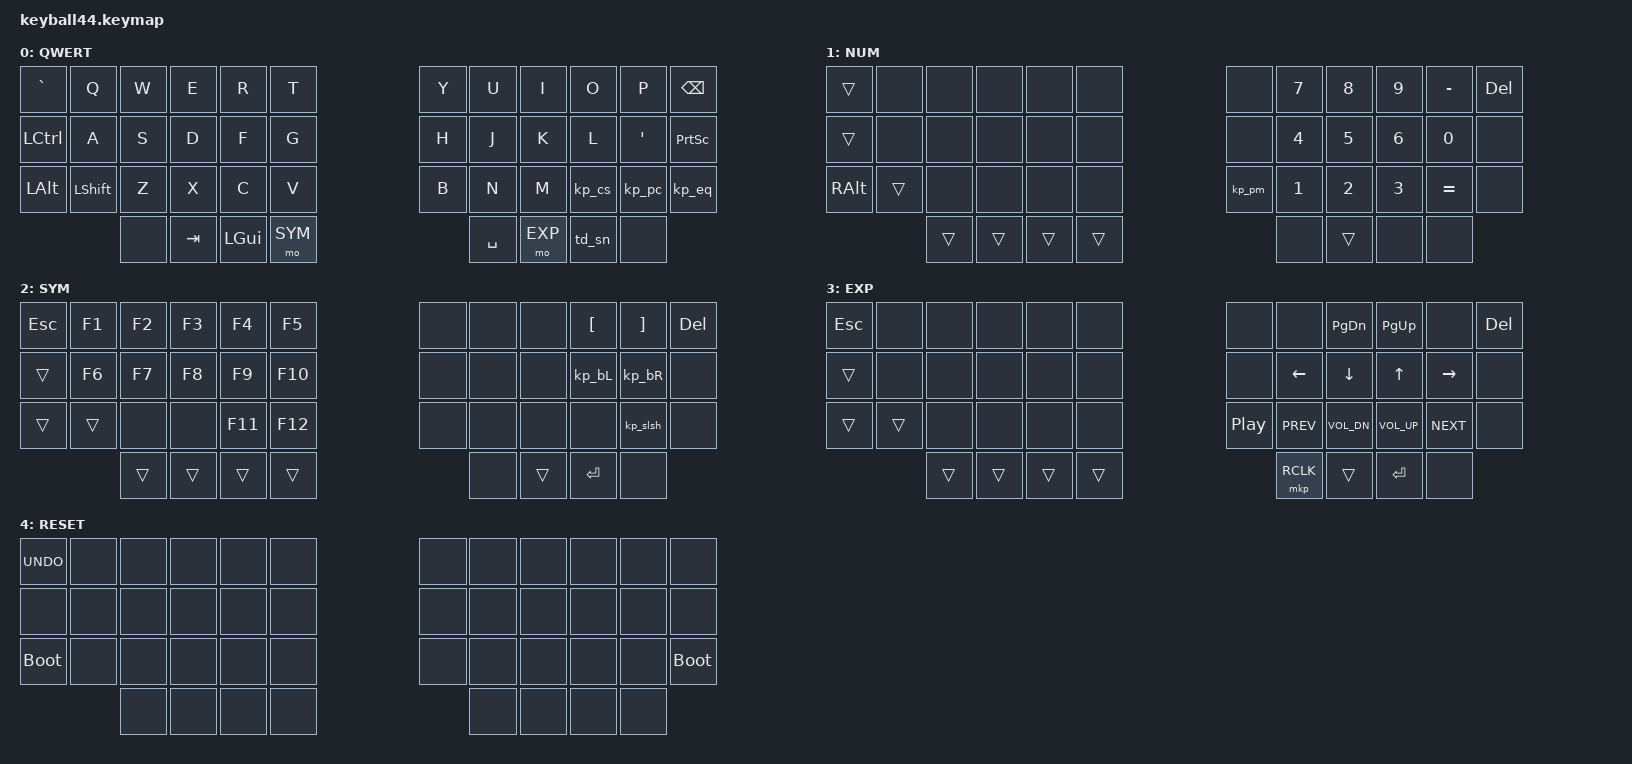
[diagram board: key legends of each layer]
#define QWERT  0
#define NUM    1
#define SYM    2
#define EXP    3
#define RESET  4

#include <behaviors/mouse_keys.dtsi>
#include <dt-bindings/zmk/mouse.h>
#include <behaviors.dtsi>
#include <dt-bindings/zmk/keys.h>
#include <dt-bindings/zmk/pointing.h>

&lt {
    tapping-term-ms = <240>;
    flavor = "balanced";
    quick-tap-ms = <100>;
};

&mt {
    tapping-term-ms = <200>;
    flavor = "tap-preferred";
    quick-tap-ms = <150>;
};

/ {
    conditional_layers {
        compatible = "zmk,conditional-layers";

        reset_layer {
            if-layers = <NUM EXP>;
            then-layer = <RESET>;
        };
    };

    behaviors {
        td_sn: TD_space_num {
            compatible = "zmk,behavior-tap-dance";
            label = "NUM_SPACE";
            #binding-cells = <0>;
            tapping-term-ms = <100>;
            bindings = <&lt NUM SPACE>;
        };

        kp_cs: SYM_comma_semi {
            compatible = "zmk,behavior-mod-morph";
            label = "COMMA_SEMI";
            #binding-cells = <0>;
            bindings = <&kp COMMA>, <&kp SEMI>;

            mods = <(MOD_LSFT|MOD_RSFT)>;
        };

        kp_pc: SYM_period_colon {
            compatible = "zmk,behavior-mod-morph";
            label = "DOT_COL";
            #binding-cells = <0>;
            bindings = <&kp DOT>, <&kp COLON>;

            mods = <(MOD_LSFT|MOD_RSFT)>;
        };

        kp_eq: SYM_excl_ques {
            compatible = "zmk,behavior-mod-morph";
            label = "SYM_EQ";
            #binding-cells = <0>;
            bindings = <&kp EXCL>, <&kp QUESTION>;

            mods = <(MOD_LSFT|MOD_RSFT)>;
        };

        kp_slsh: SYM_fslsh_bslsh {
            compatible = "zmk,behavior-mod-morph";
            label = "SYM_SLSH";
            #binding-cells = <0>;
            bindings = <&kp FSLH>, <&kp BSLH>;

            mods = <(MOD_LSFT|MOD_RSFT)>;
        };

        kp_bL: SYM_bracket_angB_L {
            compatible = "zmk,behavior-mod-morph";
            label = "SYM_BSABl";
            #binding-cells = <0>;
            bindings = <&kp LPAR>, <&kp LT>;

            mods = <(MOD_LSFT)>;
        };

        kp_bR: SYM_bracket_angB_R {
            compatible = "zmk,behavior-mod-morph";
            label = "SYM_BSABr";
            #binding-cells = <0>;
            bindings = <&kp RPAR>, <&kp GT>;

            mods = <(MOD_LSFT)>;
        };

        kp_pm: SYM_plus_mult {
            compatible = "zmk,behavior-mod-morph";
            label = "S_PM";
            #binding-cells = <0>;
            bindings = <&kp PLUS>, <&kp STAR>;

            mods = <(MOD_LSFT|MOD_RSFT)>;
        };
    };

    combos {
        compatible = "zmk,combos";

        lclk {
            bindings = <&mkp LCLK>;
            key-positions = <19 20>;
            layers = <QWERT>;
        };

        rclk {
            bindings = <&mkp RCLK>;
            key-positions = <20 21>;
            layers = <QWERT>;
        };

        mclk {
            bindings = <&mkp MCLK>;
            key-positions = <21 22>;
            layers = <QWERT>;
        };
    };

    keymap {
        compatible = "zmk,keymap";

        default_layer {
            label = "QWERT";
            bindings = <
&kp GRAVE  &kp Q      &kp W  &kp E    &kp R     &kp T                          &kp Y   &kp U  &kp I  &kp O   &kp P     &kp BSPC
&kp LCTRL  &kp A      &kp S  &kp D    &kp F     &kp G                          &kp H   &kp J  &kp K  &kp L   &kp APOS  &kp PSCRN
&kp LALT   &kp LSHFT  &kp Z  &kp X    &kp C     &kp V                          &kp B   &kp N  &kp M  &kp_cs  &kp_pc    &kp_eq
                      &none  &kp TAB  &kp LGUI  &mo SYM  &kp SPACE    &mo EXP  &td_sn                        &none
            >;
        };

        number_layer {
            label = "NUM";
            bindings = <
&trans    &none   &none   &none   &none   &none                    &none   &kp N7  &kp N8  &kp N9  &kp MINUS  &kp DEL
&trans    &none   &none   &none   &none   &none                    &none   &kp N4  &kp N5  &kp N6  &kp N0     &none
&kp RALT  &trans  &none   &none   &none   &none                    &kp_pm  &kp N1  &kp N2  &kp N3  &kp EQUAL  &none
                  &trans  &trans  &trans  &trans  &none    &trans  &none                           &none
            >;
        };

        symbol_layer {
            label = "SYM";
            bindings = <
&kp ESC  &kp F1  &kp F2  &kp F3  &kp F4   &kp F5                    &none    &none  &none  &kp LBKT  &kp RBKT  &kp DEL
&trans   &kp F6  &kp F7  &kp F8  &kp F9   &kp F10                   &none    &none  &none  &kp_bL    &kp_bR    &none
&trans   &trans  &none   &none   &kp F11  &kp F12                   &none    &none  &none  &none     &kp_slsh  &none
                 &trans  &trans  &trans   &trans   &none    &trans  &kp RET                          &none
            >;
        };

        explore_layer {
            label = "EXP";
            bindings = <
&kp ESC  &none   &none   &none   &none   &none                        &none     &none       &kp PG_DN     &kp PG_UP     &none       &kp DEL
&trans   &none   &none   &none   &none   &none                        &none     &kp LEFT    &kp DOWN      &kp UP        &kp RIGHT   &none
&trans   &trans  &none   &none   &none   &none                        &kp C_PP  &kp C_PREV  &kp C_VOL_DN  &kp C_VOL_UP  &kp C_NEXT  &none
                 &trans  &trans  &trans  &trans  &mkp RCLK    &trans  &kp RET                                           &none
            >;
        };

        reset_layer {
            label = "RESET";
            bindings = <
&kp K_UNDO   &none  &none  &none  &none  &none                  &none  &none  &none  &none  &none  &none
&none        &none  &none  &none  &none  &none                  &none  &none  &none  &none  &none  &none
&bootloader  &none  &none  &none  &none  &none                  &none  &none  &none  &none  &none  &bootloader
                    &none  &none  &none  &none  &none    &none  &none                       &none
            >;
        };
    };
};
